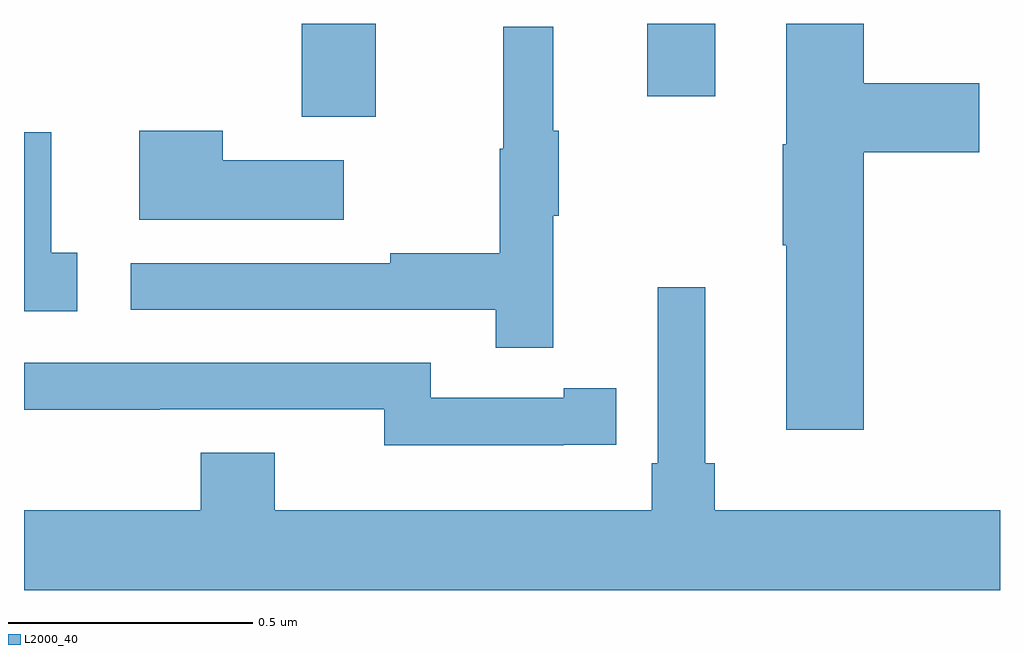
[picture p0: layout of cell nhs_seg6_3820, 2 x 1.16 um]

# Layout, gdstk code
import gdstk
lib = gdstk.Library(unit=1e-6, precision=1e-09)
def R(c, l, rs):  # rectangles x0, y0, x1, y1
    for r in rs: c.add(gdstk.rectangle(r[:2], r[2:], *l))
def P(c, l, *ps):  # polygons
    for p in ps: c.add(gdstk.Polygon(p, *l))
L2000_40 = (2000, 40)

nhs_seg6_3820 = lib.new_cell('nhs_seg6_3820')
R(nhs_seg6_3820, L2000_40, [(162.569,944.31,162.721,944.5), (163.277,944.352,163.417,944.5)])
P(nhs_seg6_3820, L2000_40, [(163.721,944.237),(163.957,944.237),(163.957,944.379),(163.721,944.379),(163.721,944.5),(163.562,944.5),(163.562,944.253),(163.555,944.253),(163.555,944.047),(163.562,944.047),(163.562,943.668),(163.721,943.668)],
  [(163.085,944.107),(163.096,944.107),(163.096,944.281),(163.085,944.281),(163.085,944.494),(162.982,944.494),(162.982,944.244),(162.975,944.244),(162.975,944.03),(162.751,944.03),(162.751,944.01),(162.219,944.01),(162.219,943.914),(162.967,943.914),(162.967,943.836),(163.085,943.836)],
  [(162.655,944.221),(162.407,944.221),(162.407,944.281),(162.236,944.281),(162.236,944.099),(162.655,944.099)],
  [(162.109,944.031),(162.056,944.031),(162.056,944.278),(162,944.278),(162,943.911),(162.109,943.911)],
  [(164,943.504),(163.415,943.504),(163.415,943.6),(163.396,943.6),(163.396,943.96),(163.299,943.96),(163.299,943.6),(163.286,943.6),(163.286,943.504),(162.514,943.504),(162.514,943.621),(162.362,943.621),(162.362,943.504),(162,943.504),(162,943.34),(164,943.34)],
  [(163.106,943.638),(163.214,943.638),(163.214,943.754),(163.106,943.754),(163.106,943.734),(162.834,943.734),(162.834,943.806),(162,943.806),(162,943.709),(162.278,943.709),(162.278,943.71),(162.738,943.71),(162.738,943.637),(163.106,943.637)])

lib.write_gds('nhs_seg6_3820.gds')
